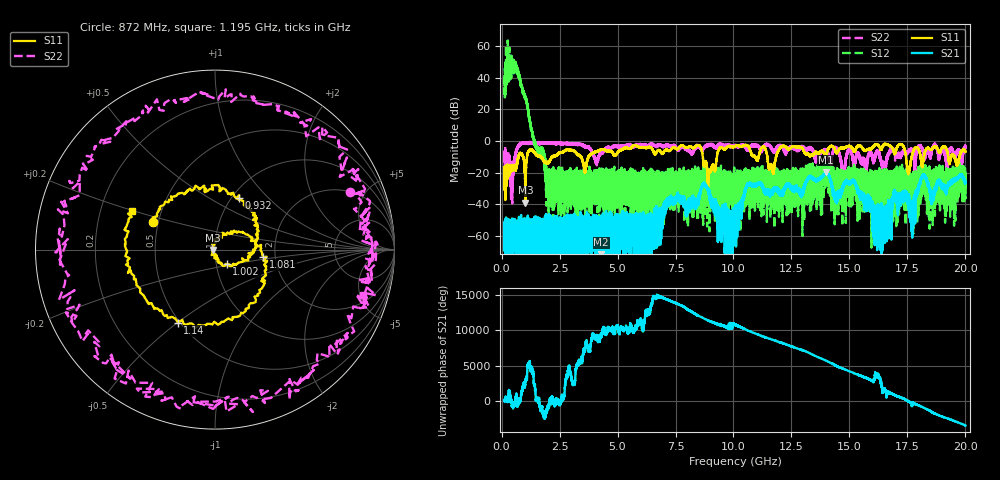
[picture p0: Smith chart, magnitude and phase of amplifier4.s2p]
!Created with skrf (http://scikit-rf.org).
# GHz S RI R 50.0
!freq ReS11 ImS11 ReS21 ImS21 ReS12 ImS12 ReS22 ImS22
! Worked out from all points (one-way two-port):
!   20013 points, 130 MHz to 20 GHz, reference 50 ohm
!   highest |S21| = -19.42 dB at 13.97 GHz (marker M1); lowest = -92.7 dB at 4.291 GHz (marker M2)
!   lowest |S11| = -38.9 dB at 1.025 GHz (marker M3), VSWR 1.02, Z = 48.9 - j0.261 ohm
!   |S11| at or under -10 dB: start of sweep to 723 MHz; 1.694 GHz to 2.174 GHz (479.6 MHz wide, 24.8 % of centre); 8.677 GHz to 9.284 GHz (606.3 MHz wide, 6.75 % of centre) (the widest 3 of 51)
!   |S22| runs from -44.4 to -0.2 dB; largest |S21 - S12| = 1.5e+03
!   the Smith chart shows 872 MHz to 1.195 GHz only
!   S11 on the Smith chart (normalised r, x): 872 MHz: 0.47, +0.16; 932 MHz: 1.08, +0.68; 1.002 GHz: 1.13, -0.18; 1.081 GHz: 1.72, -0.15; 1.14 GHz: 0.49, -0.50; 1.195 GHz: 0.34, +0.20
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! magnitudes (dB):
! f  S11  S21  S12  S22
! 130 MHz  -21.3  -54.6  30.6  -11.3
! 872 MHz  -8.5  -65.2  34.0  -1.7
! 932 MHz  -10.0  -51.3  29.9  -1.2
! 1.002 GHz  -19.6  -49.8  28.0  -0.9
! 1.025 GHz  -38.9  -72.3  27.8  -1.2
! 1.081 GHz  -11.4  -66.3  25.0  -0.9
! 1.14 GHz  -6.8  -61.4  20.5  -0.7
! 1.195 GHz  -5.8  -56.2  13.8  -1.3
! 2.013 GHz  -13.2  -55.5  -23.3  -1.4
! 3.442 GHz  -10.5  -57.3  -36.1  -1.8
! 4.291 GHz  -5.3  -92.7  -32.7  -7.7
! 6.754 GHz  -5.8  -60.9  -31.7  -2.5
! 8.739 GHz  -15.1  -27.1  -19.7  -3.9
! 10.06 GHz  -3.2  -58.4  -19.0  -2.7
! 10.67 GHz  -4.1  -27.3  -21.9  -4.2
! 13.38 GHz  -9.0  -23.1  -36.9  -5.1
! 13.97 GHz  -9.0  -19.4  -17.4  -6.1
! 14.73 GHz  -4.2  -29.9  -24.5  -22.2
! 16.69 GHz  -2.6  -50.7  -26.2  -8.3
! 17.68 GHz  -10.2  -48.1  -25.1  -5.2
! 18.17 GHz  -13.6  -21.4  -20.9  -6.3
! 20 GHz  -6.6  -26.1  -34.8  -4.0
